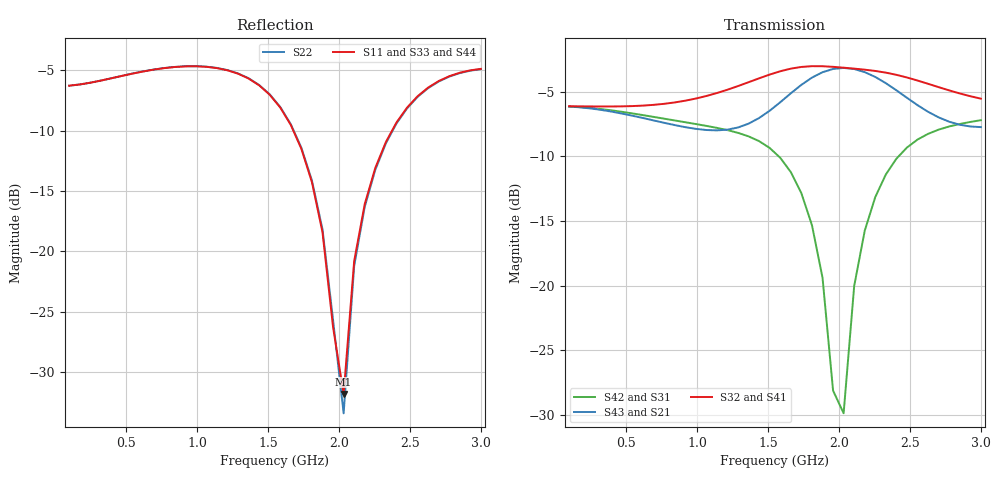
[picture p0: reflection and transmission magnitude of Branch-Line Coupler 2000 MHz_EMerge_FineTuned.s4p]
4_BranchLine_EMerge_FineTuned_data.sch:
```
<Qucs Schematic 25.2.0>
<Properties>
  <View=193,69,828,416,2.4711,0,0>
  <Grid=10,10,1>
  <DataSet=4_BranchLine_EMerge_FineTuned_data.dat>
  <DataDisplay=4_BranchLine_EMerge_FineTuned_data.dpl>
  <OpenDisplay=0>
  <Script=3_BranchLine_EMerge_data.m>
  <RunScript=0>
  <showFrame=0>
  <FrameText0=Title>
  <FrameText1=Drawn By:>
  <FrameText2=Date:>
  <FrameText3=Revision:>
</Properties>
<Symbol>
  <.ID 30 54 SUB>
  <.PortSym -20 -30 1 0 P1>
  <.PortSym 150 -30 2 180 P2>
  <.PortSym -20 30 3 0 P3>
  <.PortSym 150 30 4 180 P4>
  <Rectangle 10 -40 20 80 #000000 1 1 #ffaa00 1 1>
  <Rectangle 30 -40 70 20 #000000 1 1 #ffaa00 1 1>
  <Rectangle 100 -40 20 80 #000000 1 1 #ffaa00 1 1>
  <Rectangle 30 20 70 20 #000000 1 1 #ffaa00 1 1>
  <Rectangle 120 -40 20 20 #000000 1 1 #ffaa00 1 1>
  <Rectangle 120 20 20 20 #000000 1 1 #ffaa00 1 1>
  <Rectangle -10 20 20 20 #000000 1 1 #ffaa00 1 1>
  <Rectangle -10 -40 20 20 #000000 1 1 #ffaa00 1 1>
  <Line -10 -30 -10 0 #000000 1 1>
  <Line -10 30 -10 0 #000000 1 1>
  <Line 150 -30 -10 0 #000000 1 1>
  <Line 150 30 -10 0 #000000 1 1>
</Symbol>
<Components>
  <Port P1 1 410 260 -23 12 0 0 "1" 1 "analog" 0>
  <Port P2 1 580 260 4 -56 0 2 "2" 1 "analog" 0>
  <GND * 1 500 350 0 0 0 0>
  <Port P3 1 410 320 -23 12 0 0 "3" 1 "analog" 0>
  <Port P4 1 580 320 4 -56 0 2 "4" 1 "analog" 0>
  <SPfile X1 1 500 290 -159 -180 0 0 "Branch-Line Coupler 2000 MHz_EMerge_FineTuned.s4p" 1 "rectangular" 0 "linear" 0 "open" 0 "4" 0>
</Components>
<Wires>
  <410 260 470 260 "" 0 0 0 "">
  <530 260 580 260 "" 0 0 0 "">
  <410 320 470 320 "" 0 0 0 "">
  <530 320 580 320 "" 0 0 0 "">
</Wires>
<Diagrams>
</Diagrams>
<Paintings>
</Paintings>
```
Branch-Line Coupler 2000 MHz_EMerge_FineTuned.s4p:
! Generated by EMerge - 4-port S-parameters
! File generated: 2026-02-18 05:47
! --- Branch-Line Coupler 2000 MHz ---
! Substrate: RO4003C
! h = 0.508 mm
! W50 = 1.1 mm, W35 = 1.85 mm
! L35 = 22.2 mm, L50 = 22.2 mm
! L_feed = 5 mm
! Run time = 1.55 min
# GHZ S RI R 50
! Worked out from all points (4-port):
!   40 points, 100 MHz to 3 GHz, reference 50 ohm
!   strongest paths, dB at 100 MHz, 843.6 MHz, 1.587 GHz, 2.331 GHz, 3 GHz:
!     S32: -6.1, -5.8, -3.4, -3.5, -5.5
!     S41: -6.1, -5.8, -3.4, -3.5, -5.5
!     S43: -6.2, -7.6, -5.8, -4.3, -7.7
!     S21: -6.2, -7.6, -5.8, -4.3, -7.8
!     S42: -6.1, -7.2, -10.1, -11.4, -7.2
!     S31: -6.1, -7.2, -10.1, -11.5, -7.2
!   lowest |S11| = -31.8 dB at 2.033 GHz (marker M1), VSWR 1.05, Z = 48.8 - j2.26 ohm
!   |S11| at or under -10 dB: 1.679 GHz to 2.374 GHz (694.8 MHz wide, 34.3 % of centre)
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0.1  -0.4857 0.0153  0.4877 -0.0681  0.4868 -0.0766  0.4857 -0.0892
     0.4877 -0.0681  -0.4857 0.0153  0.4857 -0.0892  0.4868 -0.0766
     0.4868 -0.0766  0.4857 -0.0892  -0.4858 0.0154  0.4877 -0.0681
     0.4857 -0.0892  0.4868 -0.0766  0.4877 -0.0681  -0.4857 0.0153
2.033333  -0.0111 -0.0231  -0.5223 -0.4581  0.0166 -0.0246  -0.4594 0.5229
          -0.5223 -0.4581  -0.00885 -0.0194  -0.4601 0.5224  0.0171 -0.0271
          0.0166 -0.0246  -0.4601 0.5224  -0.0104 -0.0211  -0.5209 -0.4597
          -0.4594 0.5229  0.0171 -0.0271  -0.5209 -0.4597  -0.011 -0.0198
3  -0.3763 0.4291  -0.3454 0.2177  -0.4317 -0.0482  0.51 0.1368
   -0.3454 0.2177  -0.3739 0.429  0.5105 0.1365  -0.4336 -0.048
   -0.4317 -0.0482  0.5105 0.1365  -0.3726 0.4303  -0.3474 0.2179
   0.51 0.1368  -0.4336 -0.0481  -0.3474 0.2179  -0.3713 0.4301
